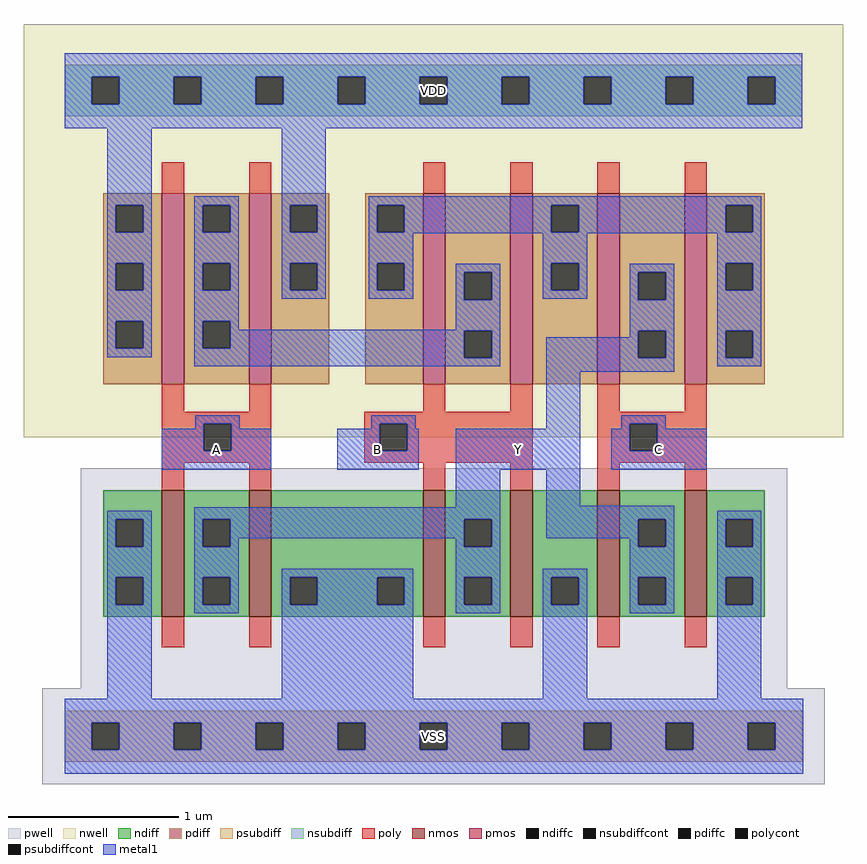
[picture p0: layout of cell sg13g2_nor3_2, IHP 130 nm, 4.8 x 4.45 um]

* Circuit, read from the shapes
.subckt sg13g2_nor3_2 B C Y VDD VSS A
XM1 Y A VSS VSS sg13_lv_nmos w=0.74u l=0.13u m=2
XM2 Y B VSS VSS sg13_lv_nmos w=0.74u l=0.13u m=2
XM3 Y C VSS VSS sg13_lv_nmos w=0.74u l=0.13u m=2
XM4 n1 A VDD VDD sg13_lv_pmos w=1.12u l=0.13u m=2
XM5 n1 B n2 VDD sg13_lv_pmos w=1.12u l=0.13u m=2
XM6 Y C n2 VDD sg13_lv_pmos w=1.12u l=0.13u m=2
.ends

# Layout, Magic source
magic
tech ihp-sg13g2
magscale 1 2
<< nwell >>
rect -48 350 912 834
<< pwell >>
rect 19 56 846 314
rect -26 -56 890 56
<< nmos >>
rect 114 140 140 288
rect 216 140 242 288
rect 420 140 446 288
rect 522 140 548 288
rect 624 140 650 288
rect 726 140 752 288
<< pmos >>
rect 114 412 140 636
rect 216 412 242 636
rect 420 412 446 636
rect 522 412 548 636
rect 624 412 650 636
rect 726 412 752 636
<< ndiff >>
rect 45 254 114 288
rect 45 222 60 254
rect 92 222 114 254
rect 45 186 114 222
rect 45 154 60 186
rect 92 154 114 186
rect 45 140 114 154
rect 140 254 216 288
rect 140 222 162 254
rect 194 222 216 254
rect 140 186 216 222
rect 140 154 162 186
rect 194 154 216 186
rect 140 140 216 154
rect 242 186 420 288
rect 242 154 264 186
rect 296 154 366 186
rect 398 154 420 186
rect 242 140 420 154
rect 446 254 522 288
rect 446 222 468 254
rect 500 222 522 254
rect 446 186 522 222
rect 446 154 468 186
rect 500 154 522 186
rect 446 140 522 154
rect 548 186 624 288
rect 548 154 570 186
rect 602 154 624 186
rect 548 140 624 154
rect 650 254 726 288
rect 650 222 672 254
rect 704 222 726 254
rect 650 186 726 222
rect 650 154 672 186
rect 704 154 726 186
rect 650 140 726 154
rect 752 254 820 288
rect 752 222 774 254
rect 806 222 820 254
rect 752 186 820 222
rect 752 154 774 186
rect 806 154 820 186
rect 752 140 820 154
<< pdiff >>
rect 45 622 114 636
rect 45 590 60 622
rect 92 590 114 622
rect 45 554 114 590
rect 45 522 60 554
rect 92 522 114 554
rect 45 486 114 522
rect 45 454 60 486
rect 92 454 114 486
rect 45 412 114 454
rect 140 622 216 636
rect 140 590 162 622
rect 194 590 216 622
rect 140 554 216 590
rect 140 522 162 554
rect 194 522 216 554
rect 140 486 216 522
rect 140 454 162 486
rect 194 454 216 486
rect 140 412 216 454
rect 242 622 310 636
rect 242 590 264 622
rect 296 590 310 622
rect 242 554 310 590
rect 242 522 264 554
rect 296 522 310 554
rect 242 412 310 522
rect 352 622 420 636
rect 352 590 366 622
rect 398 590 420 622
rect 352 554 420 590
rect 352 522 366 554
rect 398 522 420 554
rect 352 412 420 522
rect 446 543 522 636
rect 446 511 468 543
rect 500 511 522 543
rect 446 475 522 511
rect 446 443 468 475
rect 500 443 522 475
rect 446 412 522 443
rect 548 622 624 636
rect 548 590 570 622
rect 602 590 624 622
rect 548 554 624 590
rect 548 522 570 554
rect 602 522 624 554
rect 548 412 624 522
rect 650 543 726 636
rect 650 511 672 543
rect 704 511 726 543
rect 650 475 726 511
rect 650 443 672 475
rect 704 443 726 475
rect 650 412 726 443
rect 752 622 820 636
rect 752 590 774 622
rect 806 590 820 622
rect 752 554 820 590
rect 752 522 774 554
rect 806 522 820 554
rect 752 475 820 522
rect 752 443 774 475
rect 806 443 820 475
rect 752 412 820 443
<< ndiffc >>
rect 60 222 92 254
rect 60 154 92 186
rect 162 222 194 254
rect 162 154 194 186
rect 264 154 296 186
rect 366 154 398 186
rect 468 222 500 254
rect 468 154 500 186
rect 570 154 602 186
rect 672 222 704 254
rect 672 154 704 186
rect 774 222 806 254
rect 774 154 806 186
<< pdiffc >>
rect 60 590 92 622
rect 60 522 92 554
rect 60 454 92 486
rect 162 590 194 622
rect 162 522 194 554
rect 162 454 194 486
rect 264 590 296 622
rect 264 522 296 554
rect 366 590 398 622
rect 366 522 398 554
rect 468 511 500 543
rect 468 443 500 475
rect 570 590 602 622
rect 570 522 602 554
rect 672 511 704 543
rect 672 443 704 475
rect 774 590 806 622
rect 774 522 806 554
rect 774 443 806 475
<< psubdiff >>
rect 0 16 864 30
rect 0 -16 32 16
rect 64 -16 128 16
rect 160 -16 224 16
rect 256 -16 320 16
rect 352 -16 416 16
rect 448 -16 512 16
rect 544 -16 608 16
rect 640 -16 704 16
rect 736 -16 800 16
rect 832 -16 864 16
rect 0 -30 864 -16
<< nsubdiff >>
rect 0 772 864 786
rect 0 740 32 772
rect 64 740 128 772
rect 160 740 224 772
rect 256 740 320 772
rect 352 740 416 772
rect 448 740 512 772
rect 544 740 608 772
rect 640 740 704 772
rect 736 740 800 772
rect 832 740 864 772
rect 0 726 864 740
<< psubdiffcont >>
rect 32 -16 64 16
rect 128 -16 160 16
rect 224 -16 256 16
rect 320 -16 352 16
rect 416 -16 448 16
rect 512 -16 544 16
rect 608 -16 640 16
rect 704 -16 736 16
rect 800 -16 832 16
<< nsubdiffcont >>
rect 32 740 64 772
rect 128 740 160 772
rect 224 740 256 772
rect 320 740 352 772
rect 416 740 448 772
rect 512 740 544 772
rect 608 740 640 772
rect 704 740 736 772
rect 800 740 832 772
<< poly >>
rect 114 636 140 672
rect 216 636 242 672
rect 420 636 446 672
rect 522 636 548 672
rect 624 636 650 672
rect 726 636 752 672
rect 114 380 140 412
rect 216 380 242 412
rect 420 380 446 412
rect 522 380 548 412
rect 114 366 242 380
rect 114 334 163 366
rect 195 334 242 366
rect 114 320 242 334
rect 351 366 548 380
rect 351 334 369 366
rect 401 334 548 366
rect 351 320 548 334
rect 114 288 140 320
rect 216 288 242 320
rect 420 288 446 320
rect 522 288 548 320
rect 624 380 650 412
rect 726 380 752 412
rect 624 366 752 380
rect 624 334 662 366
rect 694 334 752 366
rect 624 320 752 334
rect 624 288 650 320
rect 726 288 752 320
rect 114 104 140 140
rect 216 104 242 140
rect 420 104 446 140
rect 522 104 548 140
rect 624 104 650 140
rect 726 104 752 140
<< polycont >>
rect 163 334 195 366
rect 369 334 401 366
rect 662 334 694 366
<< metal1 >>
rect 0 772 864 800
rect 0 740 32 772
rect 64 740 128 772
rect 160 740 224 772
rect 256 740 320 772
rect 352 740 416 772
rect 448 740 512 772
rect 544 740 608 772
rect 640 740 704 772
rect 736 740 800 772
rect 832 740 864 772
rect 0 712 864 740
rect 50 622 102 712
rect 50 590 60 622
rect 92 590 102 622
rect 50 554 102 590
rect 50 522 60 554
rect 92 522 102 554
rect 50 486 102 522
rect 50 454 60 486
rect 92 454 102 486
rect 50 444 102 454
rect 152 622 204 632
rect 152 590 162 622
rect 194 590 204 622
rect 152 554 204 590
rect 152 522 162 554
rect 194 522 204 554
rect 152 486 204 522
rect 254 622 306 712
rect 254 590 264 622
rect 296 590 306 622
rect 254 554 306 590
rect 254 522 264 554
rect 296 522 306 554
rect 254 512 306 522
rect 356 622 816 632
rect 356 590 366 622
rect 398 590 570 622
rect 602 590 774 622
rect 806 590 816 622
rect 356 589 816 590
rect 356 554 408 589
rect 356 522 366 554
rect 398 522 408 554
rect 560 554 612 589
rect 356 512 408 522
rect 458 543 510 553
rect 152 454 162 486
rect 194 476 204 486
rect 458 511 468 543
rect 500 511 510 543
rect 560 522 570 554
rect 602 522 612 554
rect 764 554 816 589
rect 560 512 612 522
rect 662 543 714 553
rect 458 476 510 511
rect 194 475 510 476
rect 194 454 468 475
rect 152 443 468 454
rect 500 443 510 475
rect 662 511 672 543
rect 704 511 714 543
rect 662 475 714 511
rect 662 467 672 475
rect 152 433 510 443
rect 564 443 672 467
rect 704 443 714 475
rect 564 427 714 443
rect 764 522 774 554
rect 806 522 816 554
rect 764 475 816 522
rect 764 443 774 475
rect 806 443 816 475
rect 764 433 816 443
rect 153 366 205 376
rect 153 360 163 366
rect 114 334 163 360
rect 195 360 205 366
rect 359 366 411 376
rect 359 360 369 366
rect 195 334 242 360
rect 114 312 242 334
rect 319 334 369 360
rect 401 360 411 366
rect 564 360 604 427
rect 652 366 704 376
rect 652 360 662 366
rect 401 334 415 360
rect 319 312 415 334
rect 458 312 604 360
rect 640 334 662 360
rect 694 360 704 366
rect 694 334 752 360
rect 640 312 752 334
rect 458 268 510 312
rect 50 254 102 264
rect 50 222 60 254
rect 92 222 102 254
rect 50 186 102 222
rect 50 154 60 186
rect 92 154 102 186
rect 50 44 102 154
rect 152 254 510 268
rect 152 222 162 254
rect 194 232 468 254
rect 194 222 204 232
rect 152 186 204 222
rect 458 222 468 232
rect 500 222 510 254
rect 564 270 604 312
rect 564 254 714 270
rect 564 232 672 254
rect 152 154 162 186
rect 194 154 204 186
rect 152 144 204 154
rect 254 186 408 196
rect 254 154 264 186
rect 296 154 366 186
rect 398 154 408 186
rect 254 44 408 154
rect 458 186 510 222
rect 662 222 672 232
rect 704 222 714 254
rect 458 154 468 186
rect 500 154 510 186
rect 458 144 510 154
rect 560 186 612 196
rect 560 154 570 186
rect 602 154 612 186
rect 560 44 612 154
rect 662 186 714 222
rect 662 154 672 186
rect 704 154 714 186
rect 662 144 714 154
rect 764 254 816 264
rect 764 222 774 254
rect 806 222 816 254
rect 764 186 816 222
rect 764 154 774 186
rect 806 154 816 186
rect 764 44 816 154
rect 0 16 865 44
rect 0 -16 32 16
rect 64 -16 128 16
rect 160 -16 224 16
rect 256 -16 320 16
rect 352 -16 416 16
rect 448 -16 512 16
rect 544 -16 608 16
rect 640 -16 704 16
rect 736 -16 800 16
rect 832 -16 865 16
rect 0 -44 865 -16
<< labels >>
flabel metal1 s 458 312 604 360 0 FreeSans 500 0 0 0 Y
port 3 nsew
flabel metal1 s 0 712 864 800 0 FreeSans 500 0 0 0 VDD
port 4 nsew
flabel metal1 s 319 312 415 360 0 FreeSans 500 0 0 0 B
port 1 nsew
flabel metal1 s 114 312 242 360 0 FreeSans 500 0 0 0 A
port 6 nsew
flabel metal1 s 0 -44 864 44 0 FreeSans 500 0 0 0 VSS
port 5 nsew
flabel metal1 s 640 312 752 360 0 FreeSans 500 0 0 0 C
port 2 nsew
<< properties >>
string FIXED_BBOX 0 0 864 756
<< end >>
